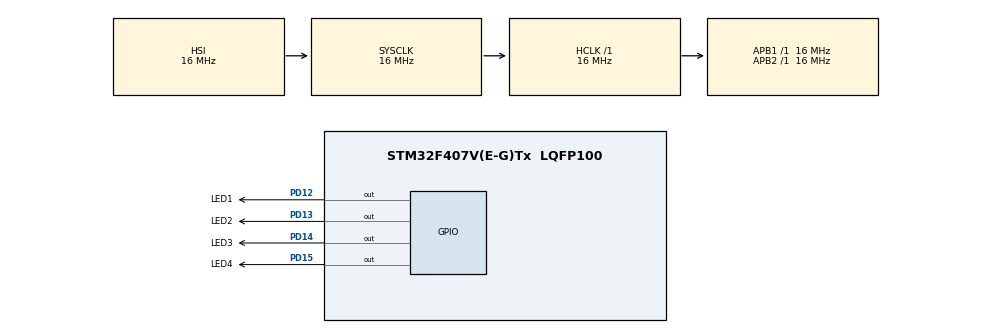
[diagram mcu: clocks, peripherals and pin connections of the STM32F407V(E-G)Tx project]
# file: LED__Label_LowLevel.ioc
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Mcu.Family=STM32F4
Mcu.Name=STM32F407V(E-G)Tx
Mcu.Package=LQFP100
NVIC.PriorityGroup=NVIC_PRIORITYGROUP_4
PA13.Mode=Serial_Wire
PA13.Signal=SYS_JTMS-SWDIO
PA14.Mode=Serial_Wire
PA14.Signal=SYS_JTCK-SWCLK
PD12.GPIO_Label=LED1
PD12.Signal=GPIO_Output
PD13.GPIO_Label=LED2
PD13.Signal=GPIO_Output
PD14.GPIO_Label=LED3
PD14.Signal=GPIO_Output
PD15.GPIO_Label=LED4
PD15.Signal=GPIO_Output
PH0-OSC_IN.Mode=HSE-External-Oscillator
PH0-OSC_IN.Signal=RCC_OSC_IN
PH1-OSC_OUT.Mode=HSE-External-Oscillator
PH1-OSC_OUT.Signal=RCC_OSC_OUT
ProjectManager.HeapSize=0x200
ProjectManager.StackSize=0x400
ProjectManager.TargetToolchain=STM32CubeIDE
RCC.AHBFreq_Value=16000000
RCC.APB1Freq_Value=16000000
RCC.APB2Freq_Value=16000000
RCC.CortexFreq_Value=16000000
RCC.HSE_VALUE=25000000
RCC.HSI_VALUE=16000000
RCC.LSE_VALUE=32768
RCC.SYSCLKFreq_VALUE=16000000
RCC.VCOOutputFreq_Value=192000000
board=custom

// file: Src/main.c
/* USER CODE BEGIN Header */
/**
 ******************************************************************************
 * @file           : main.c
 * @brief          : Main program body
 ******************************************************************************
 * @attention
 *
 * <h2><center>&copy; Copyright (c) 2019 STMicroelectronics.
 * All rights reserved.</center></h2>
 *
 * This software component is licensed by ST under BSD 3-Clause license,
 * the "License"; You may not use this file except in compliance with the
 * License. You may obtain a copy of the License at:
 *                        opensource.org/licenses/BSD-3-Clause
 *
 ******************************************************************************
 */
/* USER CODE END Header */

#include "main.h"

void SystemClock_Config(void);
static void MX_GPIO_Init(void);

int main(void)
{

	/* MCU Configuration--------------------------------------------------------*/

	/* Reset of all peripherals, Initializes the Flash interface and the Systick. */
	HAL_Init();

	/* Configure the system clock */
	SystemClock_Config();

	/* Initialize all configured peripherals */
	MX_GPIO_Init();

	/* Infinite loop */
	while (1)
	{

		/* USER CODE BEGIN 3 */
		GPIOD->BSRR = LED1_Pin;			//Set pin High
		HAL_Delay(100);
		GPIOD->BSRR = LED2_Pin;			//Set pin High
		HAL_Delay(100);
		GPIOD->BSRR = LED3_Pin;			//Set pin High
		HAL_Delay(100);
		GPIOD->BSRR = LED4_Pin;			//Set pin High
		HAL_Delay(100);
		GPIOD->BSRR = LED1_Pin << 16U;	//Set Pin Low
		HAL_Delay(100);
		GPIOD->BSRR = LED2_Pin << 16U;	//Set Pin Low
		HAL_Delay(100);
		GPIOD->BSRR = LED3_Pin << 16U;	//Set Pin Low
		HAL_Delay(100);
		GPIOD->BSRR = LED4_Pin << 16U;	//Set Pin Low
		HAL_Delay(100);
	}
	/* USER CODE END 3 */
}

void SystemClock_Config(void)
{
	RCC_OscInitTypeDef RCC_OscInitStruct = {0};
	RCC_ClkInitTypeDef RCC_ClkInitStruct = {0};

	/** Configure the main internal regulator output voltage
	 */
	__HAL_RCC_PWR_CLK_ENABLE();
	__HAL_PWR_VOLTAGESCALING_CONFIG(PWR_REGULATOR_VOLTAGE_SCALE1);
	/** Initializes the CPU, AHB and APB busses clocks
	 */
	RCC_OscInitStruct.OscillatorType = RCC_OSCILLATORTYPE_HSI;
	RCC_OscInitStruct.HSIState = RCC_HSI_ON;
	RCC_OscInitStruct.HSICalibrationValue = RCC_HSICALIBRATION_DEFAULT;
	RCC_OscInitStruct.PLL.PLLState = RCC_PLL_NONE;
	if (HAL_RCC_OscConfig(&RCC_OscInitStruct) != HAL_OK)
	{
		Error_Handler();
	}
	/** Initializes the CPU, AHB and APB busses clocks
	 */
	RCC_ClkInitStruct.ClockType = RCC_CLOCKTYPE_HCLK|RCC_CLOCKTYPE_SYSCLK
			|RCC_CLOCKTYPE_PCLK1|RCC_CLOCKTYPE_PCLK2;
	RCC_ClkInitStruct.SYSCLKSource = RCC_SYSCLKSOURCE_HSI;
	RCC_ClkInitStruct.AHBCLKDivider = RCC_SYSCLK_DIV1;
	RCC_ClkInitStruct.APB1CLKDivider = RCC_HCLK_DIV1;
	RCC_ClkInitStruct.APB2CLKDivider = RCC_HCLK_DIV1;

	if (HAL_RCC_ClockConfig(&RCC_ClkInitStruct, FLASH_LATENCY_0) != HAL_OK)
	{
		Error_Handler();
	}
}

static void MX_GPIO_Init(void)
{
	GPIO_InitTypeDef GPIO_InitStruct = {0};

	/* GPIO Ports Clock Enable */
	__HAL_RCC_GPIOH_CLK_ENABLE();
	__HAL_RCC_GPIOD_CLK_ENABLE();
	__HAL_RCC_GPIOA_CLK_ENABLE();

	/*Configure GPIO pin Output Level */
	HAL_GPIO_WritePin(GPIOD, LED1_Pin|LED2_Pin|LED3_Pin|LED4_Pin, GPIO_PIN_RESET);

	/*Configure GPIO pins : LED1_Pin LED2_Pin LED3_Pin LED4_Pin */
	GPIO_InitStruct.Pin = LED1_Pin|LED2_Pin|LED3_Pin|LED4_Pin;
	GPIO_InitStruct.Mode = GPIO_MODE_OUTPUT_PP;
	GPIO_InitStruct.Pull = GPIO_NOPULL;
	GPIO_InitStruct.Speed = GPIO_SPEED_FREQ_LOW;
	HAL_GPIO_Init(GPIOD, &GPIO_InitStruct);

}

void Error_Handler(void)
{
}

/************************ (C) COPYRIGHT STMicroelectronics *****END OF FILE****/
